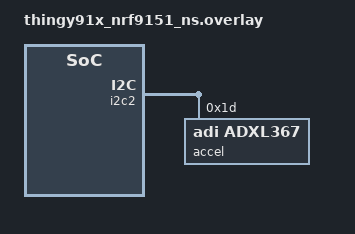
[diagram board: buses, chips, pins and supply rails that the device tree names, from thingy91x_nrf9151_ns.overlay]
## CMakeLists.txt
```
cmake_minimum_required(VERSION 3.13.1)

find_package(Zephyr REQUIRED HINTS $ENV{ZEPHYR_BASE})

project(df)


# Needed for colorful output
zephyr_compile_options(-fdiagnostics-color=always)

target_sources(app PRIVATE src/main.c)
```

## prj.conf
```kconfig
CONFIG_STDOUT_CONSOLE=y
CONFIG_GPIO=y
CONFIG_SPI=y
CONFIG_SENSOR=y
CONFIG_NEWLIB_LIBC=y
CONFIG_NEWLIB_LIBC_FLOAT_PRINTF=y
CONFIG_FPU=y
```

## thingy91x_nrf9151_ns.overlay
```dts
/* Copyright (c) 2022 Nordic Semiconductor ASA
 *
 * SPDX-License-Identifier: LicenseRef-Nordic-5-Clause
 */


&i2c2 {
	accel: accelerometer_lp: adxl367@1d {
		status = "okay";
		compatible = "adi,adxl367";
		odr = <3>;
		reg = <0x1d>;
	};

};
```

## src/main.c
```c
#include <zephyr/kernel.h>
#include <zephyr/device.h>
#include <zephyr/drivers/sensor.h>
#include <stdio.h>

static int set_sampling_freq(const struct device *dev)
{
    int ret;
    struct sensor_value odr;

    ret = sensor_attr_get(dev, SENSOR_CHAN_ACCEL_XYZ, SENSOR_ATTR_SAMPLING_FREQUENCY, &odr);

    /* If we don't get a frequency > 0, we set one */
    if (ret != 0 || (odr.val1 == 0 && odr.val2 == 0)) {
        odr.val1 = 100; //100MHz
        odr.val2 = 0;

        ret = sensor_attr_set(dev, SENSOR_CHAN_ACCEL_XYZ, SENSOR_ATTR_SAMPLING_FREQUENCY,
                    &odr);

        if (ret != 0) {
            return 1;
        }
    }

    return 0;
}

int main(void) {
    
    // output immediately without buffering
    setvbuf(stdout, NULL, _IONBF, 0);

    // get driver for the accelerometer
    const struct device *adi = DEVICE_DT_GET(DT_NODELABEL(accel));
    if (adi == NULL) {
        printf("Could not get ADXL367 device\n");
        return 1;
    }

    if (set_sampling_freq(adi) != 0 ) {
        printf("%s : failed to set sampling frequency\n", adi->name);
        return 1;
    }


    struct sensor_value accel[3];

      while (1) {
        // read data from the sensor
        if (sensor_sample_fetch(adi) < 0) {
            printf("ADXL367 Sensor sample update error\n");
            return 1;
        }

        sensor_channel_get(adi, SENSOR_CHAN_ACCEL_XYZ, accel);

        // print over stdout
        printf("%.3f\t%.3f\t%.3f\r\n",
            sensor_value_to_double(&accel[0]),
            sensor_value_to_double(&accel[1]),
            sensor_value_to_double(&accel[2]));

		/* 10ms period, 100Hz Sampling frequency */
		k_sleep(K_MSEC(10));
    }
    return 0;
}
```

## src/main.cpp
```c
#include <zephyr/kernel.h>
#include <zephyr/sys/printk.h>
#include <zephyr/drivers/sensor.h>
#include <stdio.h>
#include <stdlib.h>

static int64_t sampling_freq = 104; // in Hz.
static int64_t time_between_samples_us = (1000000 / (sampling_freq - 1));

int main() {
    
    // output immediately without buffering
    setvbuf(stdout, NULL, _IONBF, 0);

    // get driver for the accelerometer
    const struct device *adi = DEVICE_DT_GET(DT_NODELABEL(accel));
    if (adi == NULL) {
        printf("Could not get IIS2DLPC device\n");
        return 1;
    }

    struct sensor_value accel[3];

    while (1) {
        // start a timer that expires when we need to grab the next value
        struct k_timer next_val_timer;
        k_timer_init(&next_val_timer, NULL, NULL);
        k_timer_start(&next_val_timer, K_USEC(time_between_samples_us), K_NO_WAIT);

        // read data from the sensor
        if (sensor_sample_fetch(adi) < 0) {
            printf("IIS2DLPC Sensor sample update error\n");
            return 1;
        }

        sensor_channel_get(adi, SENSOR_CHAN_ACCEL_XYZ, accel);

        // print over stdout
        printf("%.3f\t%.3f\t%.3f\r\n",
            sensor_value_to_double(&accel[0]),
            sensor_value_to_double(&accel[1]),
            sensor_value_to_double(&accel[2]));

        // busy loop until next value should be grabbed
        while (k_timer_status_get(&next_val_timer) <= 0);
    }
        
}
```
